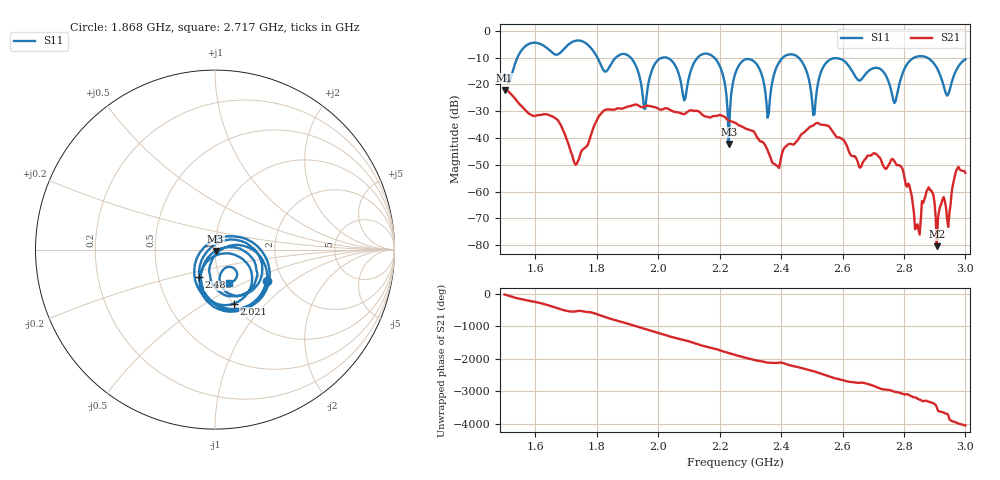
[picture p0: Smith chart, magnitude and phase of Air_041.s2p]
# HZ S RI R 50
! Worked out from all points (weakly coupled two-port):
!   404 points, 1.5 GHz to 3 GHz, reference 50 ohm
!   highest |S21| = -22.05 dB at 1.5 GHz (marker M1); lowest = -80.3 dB at 2.907 GHz (marker M2)
!   lowest |S11| = -42.2 dB at 2.23 GHz (marker M3), VSWR 1.02, Z = 50.3 - j0.721 ohm
!   |S11| at or under -10 dB: 2.182 GHz to 2.406 GHz (223.8 MHz wide, 9.76 % of centre); 2.457 GHz to 2.834 GHz (377.4 MHz wide, 14.3 % of centre); 2.874 GHz to end of sweep (the widest 3 of 7)
!   S12 and S22 are empty: the file has one direction only
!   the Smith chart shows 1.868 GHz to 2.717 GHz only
!   S11 on the Smith chart (normalised r, x): 1.868 GHz: 1.65, -0.65; 2.021 GHz: 1.01, -0.68; 2.483 GHz: 0.80, -0.26; 2.717 GHz: 1.09, -0.42
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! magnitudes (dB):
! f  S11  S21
! 1.5 GHz  -16.3  -22.0
! 1.753 GHz  -3.9  -44.4
! 1.868 GHz  -9.4  -28.9
! 1.954 GHz  -29.1  -28.3
! 2.002 GHz  -10.6  -29.2
! 2.021 GHz  -9.9  -29.0
! 2.084 GHz  -26.0  -31.1
! 2.181 GHz  -9.9  -31.8
! 2.23 GHz  -42.2  -33.5
! 2.252 GHz  -15.7  -34.4
! 2.315 GHz  -11.8  -38.3
! 2.356 GHz  -32.4  -44.6
! 2.386 GHz  -13.4  -50.3
! 2.483 GHz  -15.0  -37.1
! 2.501 GHz  -26.5  -35.5
! 2.561 GHz  -10.7  -36.4
! 2.717 GHz  -14.0  -46.9
! 2.751 GHz  -19.2  -50.1
! 2.844 GHz  -9.6  -72.2
! 2.881 GHz  -10.4  -58.4
! 2.907 GHz  -13.8  -80.3
! 3 GHz  -10.6  -53.0
